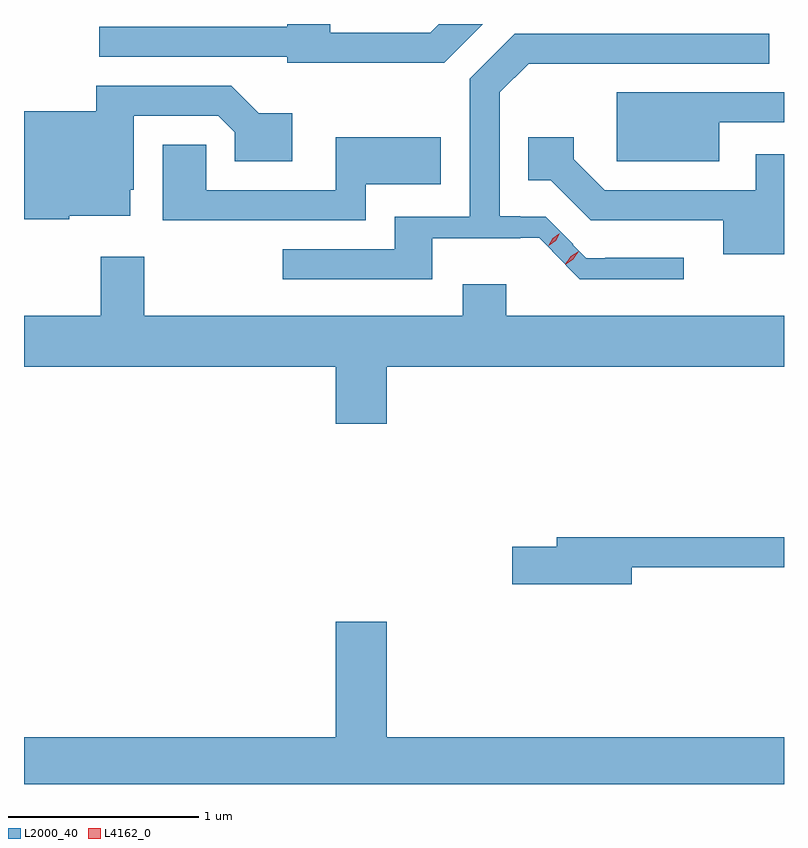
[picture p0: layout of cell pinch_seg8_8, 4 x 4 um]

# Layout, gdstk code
import gdstk
lib = gdstk.Library(unit=1e-6, precision=1e-09)
def P(c, l, *ps):  # polygons
    for p in ps: c.add(gdstk.Polygon(p, *l))
L2000_40 = (2000, 40)
L4162_0 = (4162, 0)

pinch_seg8_8 = lib.new_cell('pinch_seg8_8')
P(pinch_seg8_8, L2000_40, [(1714.35,1931.459),(1714.119,1931.459),(1714.074,1931.414),(1713.549,1931.414),(1713.549,1931.459),(1713.321,1931.459),(1713.321,1931.444),(1712.333,1931.444),(1712.333,1931.286),(1713.321,1931.286),(1713.321,1931.256),(1714.147,1931.256)],
  [(1714.084,1930.331),(1714.547,1930.331),(1714.547,1930.335),(1714.647,1930.335),(1714.718,1930.264),(1714.715,1930.262),(1714.861,1930.116),(1715.408,1930.116),(1715.408,1930.229),(1714.995,1930.229),(1714.995,1930.225),(1714.895,1930.225),(1714.824,1930.296),(1714.827,1930.299),(1714.682,1930.444),(1714.547,1930.444),(1714.547,1930.447),(1714.439,1930.447),(1714.439,1931.099),(1714.592,1931.251),(1715.858,1931.251),(1715.858,1931.409),(1714.519,1931.409),(1714.281,1931.172),(1714.281,1930.444),(1713.886,1930.444),(1713.886,1930.274),(1713.298,1930.274),(1713.298,1930.116),(1714.084,1930.116)],
  [(1712.174,1930.451),(1712.494,1930.451),(1712.494,1930.586),(1712.514,1930.586),(1712.514,1930.976),(1712.959,1930.976),(1713.046,1930.889),(1713.046,1930.736),(1713.349,1930.736),(1713.349,1930.989),(1713.172,1930.989),(1713.027,1931.134),(1712.316,1931.134),(1712.316,1930.999),(1711.936,1930.999),(1711.936,1930.431),(1712.174,1930.431)],
  [(1715.594,1930.941),(1715.936,1930.941),(1715.936,1931.099),(1715.056,1931.099),(1715.056,1930.736),(1715.594,1930.736)],
  [(1713.734,1930.616),(1714.129,1930.616),(1714.129,1930.864),(1713.576,1930.864),(1713.576,1930.584),(1712.894,1930.584),(1712.894,1930.824),(1712.666,1930.824),(1712.666,1930.426),(1713.734,1930.426)],
  [(1715.936,1930.774),(1715.786,1930.774),(1715.786,1930.584),(1714.992,1930.584),(1714.829,1930.747),(1714.829,1930.864),(1714.591,1930.864),(1714.591,1930.636),(1714.709,1930.636),(1714.919,1930.426),(1715.616,1930.426),(1715.616,1930.246),(1715.936,1930.246)],
  [(1713.844,1929.656),(1715.936,1929.656),(1715.936,1929.924),(1714.474,1929.924),(1714.474,1930.089),(1714.246,1930.089),(1714.246,1929.924),(1712.569,1929.924),(1712.569,1930.234),(1712.341,1930.234),(1712.341,1929.924),(1711.936,1929.924),(1711.936,1929.656),(1713.576,1929.656),(1713.576,1929.356),(1713.844,1929.356)],
  [(1715.134,1928.601),(1715.936,1928.601),(1715.936,1928.759),(1714.741,1928.759),(1714.741,1928.709),(1714.506,1928.709),(1714.506,1928.511),(1715.134,1928.511)],
  [(1715.936,1927.704),(1713.844,1927.704),(1713.844,1928.314),(1713.576,1928.314),(1713.576,1927.704),(1711.936,1927.704),(1711.936,1927.459),(1715.936,1927.459)])
P(pinch_seg8_8, L4162_0, [(1714.784,1930.193),(1714.784,1930.194),(1714.813,1930.236),(1714.855,1930.264),(1714.856,1930.264),(1714.856,1930.264),(1714.827,1930.222),(1714.785,1930.193)],
  [(1714.697,1930.293),(1714.697,1930.294),(1714.72,1930.332),(1714.757,1930.358),(1714.757,1930.358),(1714.757,1930.357),(1714.734,1930.319),(1714.697,1930.293)])

lib.write_gds('pinch_seg8_8.gds')
